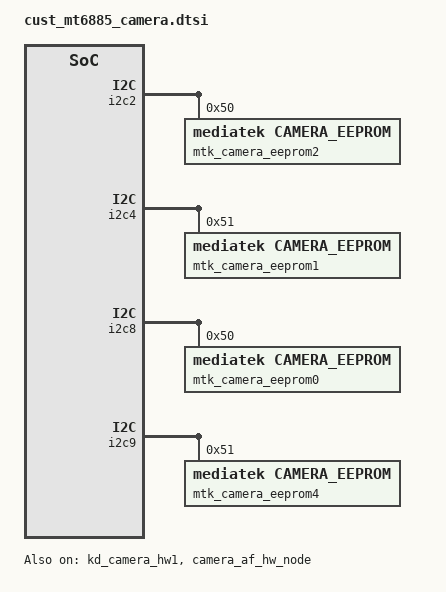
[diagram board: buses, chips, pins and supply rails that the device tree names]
// SPDX-License-Identifier: GPL-2.0
/*
 * Copyright (c) 2021 MediaTek Inc.
 */
/* CAMERA GPIO standardization */
&pio {
	camera_pins_cam0_rst_0: cam0@0 {
		pins_cmd_dat {
			pinmux = <__CUST_GPIO_CAMERA_CMRST_PINMUX__>;
			slew-rate = <1>;
			output-low;
		};
	};
	camera_pins_cam0_rst_1: cam0@1 {
		pins_cmd_dat {
			pinmux = <__CUST_GPIO_CAMERA_CMRST_PINMUX__>;
			slew-rate = <1>;
			output-high;
		};
	};
	camera_pins_cam0_pnd_0: cam0@2 {
#if (PUNMUX_GPIO_NONE_FUNC_NONE == __CUST_GPIO_CAMERA_CMPDN_PINMUX__)
#else
		pins_cmd_dat {
			pinmux = <__CUST_GPIO_CAMERA_CMPDN_PINMUX__>;
			slew-rate = <1>;
			output-low;
		};
#endif
	};
	camera_pins_cam0_pnd_1: cam0@3 {
#if (PUNMUX_GPIO_NONE_FUNC_NONE == __CUST_GPIO_CAMERA_CMPDN_PINMUX__)
#else
		pins_cmd_dat {
			pinmux = <__CUST_GPIO_CAMERA_CMPDN_PINMUX__>;
			slew-rate = <1>;
			output-high;
		};
#endif
	};
	camera_pins_cam1_rst_0: cam1@0 {
#if (PUNMUX_GPIO_NONE_FUNC_NONE == __CUST_GPIO_CAMERA_SUB_CMRST_PINMUX__)
#else
		pins_cmd_dat {
			pinmux = <__CUST_GPIO_CAMERA_SUB_CMRST_PINMUX__>;
			slew-rate = <1>;
			output-low;
		};
#endif
	};
	camera_pins_cam1_rst_1: cam1@1 {
#if (PUNMUX_GPIO_NONE_FUNC_NONE == __CUST_GPIO_CAMERA_SUB_CMRST_PINMUX__)
#else
		pins_cmd_dat {
			pinmux = <__CUST_GPIO_CAMERA_SUB_CMRST_PINMUX__>;
			slew-rate = <1>;
			output-high;
		};
#endif
	};
	camera_pins_cam1_pnd_0: cam1@2 {
#if (PUNMUX_GPIO_NONE_FUNC_NONE == __CUST_GPIO_CAMERA_SUB_CMPDN_PINMUX__)
#else
		pins_cmd_dat {
			pinmux = <__CUST_GPIO_CAMERA_SUB_CMPDN_PINMUX__>;
			slew-rate = <1>;
			output-low;
		};
#endif
	};
	camera_pins_cam1_pnd_1: cam1@3 {
#if (PUNMUX_GPIO_NONE_FUNC_NONE == __CUST_GPIO_CAMERA_SUB_CMPDN_PINMUX__)
#else
		pins_cmd_dat {
			pinmux = <__CUST_GPIO_CAMERA_SUB_CMPDN_PINMUX__>;
			slew-rate = <1>;
			output-high;
		};
#endif
	};
	camera_pins_cam2_rst_0: cam2@0 {
#if (PUNMUX_GPIO_NONE_FUNC_NONE == __CUST_GPIO_CAMERA_MAIN2_CMRST_PINMUX__)
#else
		pins_cmd_dat {
			pinmux = <__CUST_GPIO_CAMERA_MAIN2_CMRST_PINMUX__>;
			slew-rate = <1>;
			output-low;
		};
#endif
	};
	camera_pins_cam2_rst_1: cam2@1 {
#if (PUNMUX_GPIO_NONE_FUNC_NONE == __CUST_GPIO_CAMERA_MAIN2_CMRST_PINMUX__)
#else
		pins_cmd_dat {
			pinmux = <__CUST_GPIO_CAMERA_MAIN2_CMRST_PINMUX__>;
			slew-rate = <1>;
			output-high;
		};
#endif
	};
	camera_pins_cam2_pnd_0: cam2@2 {
#if (PUNMUX_GPIO_NONE_FUNC_NONE == __CUST_GPIO_CAMERA_MAIN2_CMPDN_PINMUX__)
#else
		pins_cmd_dat {
			pinmux = <__CUST_GPIO_CAMERA_MAIN2_CMPDN_PINMUX__>;
			slew-rate = <1>;
			output-low;
		};
#endif
	};
	camera_pins_cam2_pnd_1: cam2@3 {
#if (PUNMUX_GPIO_NONE_FUNC_NONE == __CUST_GPIO_CAMERA_MAIN2_CMPDN_PINMUX__)
#else
		pins_cmd_dat {
			pinmux = <__CUST_GPIO_CAMERA_MAIN2_CMPDN_PINMUX__>;
			slew-rate = <1>;
			output-high;
		};
#endif
	};
	camera_pins_cam3_rst_0: cam3@0 {
#if (PUNMUX_GPIO_NONE_FUNC_NONE == __CUST_GPIO_CAMERA_SUB2_CMRST_PINMUX__)
#else
		pins_cmd_dat {
			pinmux = <__CUST_GPIO_CAMERA_SUB2_CMRST_PINMUX__>;
			slew-rate = <1>;
			output-low;
		};
#endif
	};
	camera_pins_cam3_rst_1: cam3@1 {
#if (PUNMUX_GPIO_NONE_FUNC_NONE == __CUST_GPIO_CAMERA_SUB2_CMRST_PINMUX__)
#else
		pins_cmd_dat {
			pinmux = <__CUST_GPIO_CAMERA_SUB2_CMRST_PINMUX__>;
			slew-rate = <1>;
			output-high;
		};
#endif
	};
	camera_pins_cam3_pnd_0: cam3@2 {
#if (PUNMUX_GPIO_NONE_FUNC_NONE == __CUST_GPIO_CAMERA_SUB2_CMPDN_PINMUX__)
#else
		pins_cmd_dat {
			pinmux = <__CUST_GPIO_CAMERA_SUB2_CMPDN_PINMUX__>;
			slew-rate = <1>;
			output-low;
		};
#endif
	};
	camera_pins_cam3_pnd_1: cam3@3 {
#if (PUNMUX_GPIO_NONE_FUNC_NONE == __CUST_GPIO_CAMERA_SUB2_CMPDN_PINMUX__)
#else
		pins_cmd_dat {
			pinmux = <__CUST_GPIO_CAMERA_SUB2_CMPDN_PINMUX__>;
			slew-rate = <1>;
			output-high;
		};
#endif
	};
	camera_pins_cam4_rst_0: cam4@0 {
		pins_cmd_dat {
			pinmux = <PINMUX_GPIO145__FUNC_GPIO145>;
			slew-rate = <1>;
			output-low;
		};
	};
	camera_pins_cam4_rst_1: cam4@1 {
		pins_cmd_dat {
			pinmux = <PINMUX_GPIO145__FUNC_GPIO145>;
			slew-rate = <1>;
			output-high;
		};
	};
	camera_pins_cam4_pnd_0: cam4@2 {
		pins_cmd_dat {
			pinmux = <PINMUX_GPIO148__FUNC_GPIO148>;
			slew-rate = <1>;
			output-low;
		};
	};
	camera_pins_cam4_pnd_1: cam4@3 {
		pins_cmd_dat {
			pinmux = <PINMUX_GPIO148__FUNC_GPIO148>;
			slew-rate = <1>;
			output-high;
		};
	};
	camera_pins_cam5_rst_0: cam5@0 {
	};
	camera_pins_cam5_rst_1: cam5@1 {
	};
	camera_pins_cam5_pnd_0: cam5@2 {
	};
	camera_pins_cam5_pnd_1: cam5@3 {
	};
	camera_pins_cam0_vcamd_0: cam0@vcam0 {
#if (PUNMUX_GPIO_NONE_FUNC_NONE == __CUST_GPIO_CAMERA_VCAMD_PINMUX__)
#else
		pins_cmd_dat {
			pinmux = <__CUST_GPIO_CAMERA_VCAMD_PINMUX__>;
			slew-rate = <1>;
			output-low;
		};
#endif
	};
	camera_pins_cam0_vcamd_1: cam0@vcam1 {
#if (PUNMUX_GPIO_NONE_FUNC_NONE == __CUST_GPIO_CAMERA_VCAMD_PINMUX__)
#else
		pins_cmd_dat {
			pinmux = <__CUST_GPIO_CAMERA_VCAMD_PINMUX__>;
			slew-rate = <1>;
			output-high;
		};
#endif
	};
	camera_pins_cam0_vcama_0: cam0@vcam2 {
#if (PUNMUX_GPIO_NONE_FUNC_NONE == __CUST_GPIO_CAMERA_VCAMA_PINMUX__)
#else
		pins_cmd_dat {
			pinmux = <__CUST_GPIO_CAMERA_VCAMA_PINMUX__>;
			slew-rate = <1>;
			output-low;
		};
#endif
	};
	camera_pins_cam0_vcama_1: cam0@vcam3 {
#if (PUNMUX_GPIO_NONE_FUNC_NONE == __CUST_GPIO_CAMERA_VCAMA_PINMUX__)
#else
		pins_cmd_dat {
			pinmux = <__CUST_GPIO_CAMERA_VCAMA_PINMUX__>;
			slew-rate = <1>;
			output-high;
		};
#endif
	};
	camera_pins_cam0_vcamd2_0: cam0_vcamd2@vcam0 {
#if (PUNMUX_GPIO_NONE_FUNC_NONE == __CUST_GPIO_CAMERA_VCAMD2_PINMUX__)
#else
		pins_cmd_dat {
			pinmux = <__CUST_GPIO_CAMERA_VCAMD2_PINMUX__>;
			slew-rate = <1>;
			output-low;
		};
#endif
	};
	camera_pins_cam0_vcamd2_1: cam0_vcamd2@vcam1 {
#if (PUNMUX_GPIO_NONE_FUNC_NONE == __CUST_GPIO_CAMERA_VCAMD2_PINMUX__)
#else
		pins_cmd_dat {
			pinmux = <__CUST_GPIO_CAMERA_VCAMD2_PINMUX__>;
			slew-rate = <1>;
			output-high;
		};
#endif
	};
	camera_pins_cam0_vcama2_0: cam0_vcama2@vcam2 {
#if (PUNMUX_GPIO_NONE_FUNC_NONE == __CUST_GPIO_CAMERA_VCAMA2_PINMUX__)
#else
		pins_cmd_dat {
			pinmux = <__CUST_GPIO_CAMERA_VCAMA2_PINMUX__>;
			slew-rate = <1>;
			output-low;
		};
#endif
	};
	camera_pins_cam0_vcama2_1: cam0_vcama2@vcam3 {
#if (PUNMUX_GPIO_NONE_FUNC_NONE == __CUST_GPIO_CAMERA_VCAMA2_PINMUX__)
#else
		pins_cmd_dat {
			pinmux = <__CUST_GPIO_CAMERA_VCAMA2_PINMUX__>;
			slew-rate = <1>;
			output-high;
		};
#endif
	};
	camera_pins_cam0_vcamaf_0: cam0@vcam4 {
#if (PUNMUX_GPIO_NONE_FUNC_NONE == __CUST_GPIO_CAMERA_VCAMAF_PINMUX__)
#else
		pins_cmd_dat {
			pinmux = <__CUST_GPIO_CAMERA_VCAMAF_PINMUX__>;
			slew-rate = <1>;
			output-low;
		};
#endif
	};
	camera_pins_cam0_vcamaf_1: cam0@vcam5 {
#if (PUNMUX_GPIO_NONE_FUNC_NONE == __CUST_GPIO_CAMERA_VCAMAF_PINMUX__)
#else
		pins_cmd_dat {
			pinmux = <__CUST_GPIO_CAMERA_VCAMAF_PINMUX__>;
			slew-rate = <1>;
			output-high;
		};
#endif
	};
	camera_pins_cam1_vcamd_0: cam1@vcam0 {
#if (PUNMUX_GPIO_NONE_FUNC_NONE == __CUST_GPIO_CAMERA_SUB_VCAMD_PINMUX__)
#else
		pins_cmd_dat {
			pinmux = <__CUST_GPIO_CAMERA_SUB_VCAMD_PINMUX__>;
			slew-rate = <1>;
			output-low;
		};
#endif
	};
	camera_pins_cam1_vcamd_1: cam1@vcam1 {
#if (PUNMUX_GPIO_NONE_FUNC_NONE == __CUST_GPIO_CAMERA_SUB_VCAMD_PINMUX__)
#else
		pins_cmd_dat {
			pinmux = <__CUST_GPIO_CAMERA_SUB_VCAMD_PINMUX__>;
			slew-rate = <1>;
			output-high;
		};
#endif
	};
	camera_pins_cam1_vcama_0: cam1@vcam2 {
#if (PUNMUX_GPIO_NONE_FUNC_NONE == __CUST_GPIO_CAMERA_SUB_VCAMA_PINMUX__)
#else
		pins_cmd_dat {
			pinmux = <__CUST_GPIO_CAMERA_SUB_VCAMA_PINMUX__>;
			slew-rate = <1>;
			output-low;
		};
#endif
	};
	camera_pins_cam1_vcama_1: cam1@vcam3 {
#if (PUNMUX_GPIO_NONE_FUNC_NONE == __CUST_GPIO_CAMERA_SUB_VCAMA_PINMUX__)
#else
		pins_cmd_dat {
			pinmux = <__CUST_GPIO_CAMERA_SUB_VCAMA_PINMUX__>;
			slew-rate = <1>;
			output-high;
		};
#endif
	};
	camera_pins_cam2_vcamd_0: cam2@vcam0 {
#if (PUNMUX_GPIO_NONE_FUNC_NONE == __CUST_GPIO_CAMERA_MAIN2_VCAMD_PINMUX__)
#else
		pins_cmd_dat {
			pinmux = <__CUST_GPIO_CAMERA_MAIN2_VCAMD_PINMUX__>;
			slew-rate = <1>;
			output-low;
		};
#endif
	};
	camera_pins_cam2_vcamd_1: cam2@vcam1 {
#if (PUNMUX_GPIO_NONE_FUNC_NONE == __CUST_GPIO_CAMERA_MAIN2_VCAMD_PINMUX__)
#else
		pins_cmd_dat {
			pinmux = <__CUST_GPIO_CAMERA_MAIN2_VCAMD_PINMUX__>;
			slew-rate = <1>;
			output-high;
		};
#endif
	};
	camera_pins_cam2_vcama_0: cam2@vcam2 {
#if (PUNMUX_GPIO_NONE_FUNC_NONE == __CUST_GPIO_CAMERA_MAIN2_VCAMA_PINMUX__)
#else
		pins_cmd_dat {
			pinmux = <__CUST_GPIO_CAMERA_MAIN2_VCAMA_PINMUX__>;
			slew-rate = <1>;
			output-low;
		};
#endif
	};
	camera_pins_cam2_vcama_1: cam2@vcam3 {
#if (PUNMUX_GPIO_NONE_FUNC_NONE == __CUST_GPIO_CAMERA_MAIN2_VCAMA_PINMUX__)
#else
		pins_cmd_dat {
			pinmux = <__CUST_GPIO_CAMERA_MAIN2_VCAMA_PINMUX__>;
			slew-rate = <1>;
			output-high;
		};
#endif
	};
	camera_pins_cam2_vcamaf_0: cam2@vcam4 {
#if (PUNMUX_GPIO_NONE_FUNC_NONE == __CUST_GPIO_CAMERA_VCAMAF_PINMUX__)
#else
		pins_cmd_dat {
			pinmux = <__CUST_GPIO_CAMERA_VCAMAF_PINMUX__>;
			slew-rate = <1>;
			output-low;
		};
#endif
	};
	camera_pins_cam2_vcamaf_1: cam2@vcam5 {
#if (PUNMUX_GPIO_NONE_FUNC_NONE == __CUST_GPIO_CAMERA_VCAMAF_PINMUX__)
#else
		pins_cmd_dat {
			pinmux = <__CUST_GPIO_CAMERA_VCAMAF_PINMUX__>;
			slew-rate = <1>;
			output-high;
		};
#endif
	};
	camera_pins_cam3_vcamd_0: cam3@vcam0 {
#if (PUNMUX_GPIO_NONE_FUNC_NONE == __CUST_GPIO_CAMERA_SUB2_VCAMD_PINMUX__)
#else
		pins_cmd_dat {
			pinmux = <__CUST_GPIO_CAMERA_SUB2_VCAMD_PINMUX__>;
			slew-rate = <1>;
			output-low;
		};
#endif
	};
	camera_pins_cam3_vcamd_1: cam3@vcam1 {
#if (PUNMUX_GPIO_NONE_FUNC_NONE == __CUST_GPIO_CAMERA_SUB2_VCAMD_PINMUX__)
#else
		pins_cmd_dat {
			pinmux = <__CUST_GPIO_CAMERA_SUB2_VCAMD_PINMUX__>;
			slew-rate = <1>;
			output-high;
		};
#endif
	};
	camera_pins_cam3_vcama_0: cam3@vcam2 {
#if (PUNMUX_GPIO_NONE_FUNC_NONE == __CUST_GPIO_CAMERA_SUB2_VCAMA_PINMUX__)
#else
		pins_cmd_dat {
			pinmux = <__CUST_GPIO_CAMERA_SUB2_VCAMA_PINMUX__>;
			slew-rate = <1>;
			output-low;
		};
#endif
	};
	camera_pins_cam3_vcama_1: cam3@vcam3 {
#if (PUNMUX_GPIO_NONE_FUNC_NONE == __CUST_GPIO_CAMERA_SUB2_VCAMA_PINMUX__)
#else
		pins_cmd_dat {
			pinmux = <__CUST_GPIO_CAMERA_SUB2_VCAMA_PINMUX__>;
			slew-rate = <1>;
			output-high;
		};
#endif
	};
	camera_pins_cam4_vcamd_0: cam4@vcam0 {
		pins_cmd_dat {
			pinmux = <PINMUX_GPIO6__FUNC_GPIO6>;
			slew-rate = <1>;
			output-low;
		};
	};
	camera_pins_cam4_vcamd_1: cam4@vcam1 {
		pins_cmd_dat {
			pinmux = <PINMUX_GPIO6__FUNC_GPIO6>;
			slew-rate = <1>;
			output-high;
		};
	};
	camera_pins_cam4_vcama_0: cam4@vcam2 {
		pins_cmd_dat {
			pinmux = <PINMUX_GPIO7__FUNC_GPIO7>;
			slew-rate = <1>;
			output-low;
		};
	};
	camera_pins_cam4_vcama_1: cam4@vcam3 {
		pins_cmd_dat {
			pinmux = <PINMUX_GPIO7__FUNC_GPIO7>;
			slew-rate = <1>;
			output-high;
		};
	};
	camera_pins_cam5_vcamd_0: cam5@vcam0 {
	};
	camera_pins_cam5_vcamd_1: cam5@vcam1 {
	};
	camera_pins_cam5_vcama_0: cam5@vcam2 {
	};
	camera_pins_cam5_vcama_1: cam5@vcam3 {
	};
	camera_pins_cam0_mclk_off: camera_pins_cam0_mclk_off {
#if (PUNMUX_GPIO_NONE_FUNC_NONE == __CUST_GPIO_CAMERA_MCLKOFF_PINMUX__)
#else
		pins_cmd_dat {
			pinmux = <__CUST_GPIO_CAMERA_MCLKOFF_PINMUX__>;
			drive-strength = <1>;
		};
#endif
	};
	camera_pins_cam0_mclk_2ma: camera_pins_cam0_mclk_2ma {
#if (PUNMUX_GPIO_NONE_FUNC_NONE == __CUST_GPIO_CAMERA_MCLKON_PINMUX__)
#else
		pins_cmd_dat {
			pinmux = <__CUST_GPIO_CAMERA_MCLKON_PINMUX__>;
			drive-strength = <0>;
		};
#endif
	};
	camera_pins_cam0_mclk_4ma: camera_pins_cam0_mclk_4ma {
#if (PUNMUX_GPIO_NONE_FUNC_NONE == __CUST_GPIO_CAMERA_MCLKON_PINMUX__)
#else
		pins_cmd_dat {
			pinmux = <__CUST_GPIO_CAMERA_MCLKON_PINMUX__>;
			drive-strength = <1>;
		};
#endif
	};
	camera_pins_cam0_mclk_6ma: camera_pins_cam0_mclk_6ma {
#if (PUNMUX_GPIO_NONE_FUNC_NONE == __CUST_GPIO_CAMERA_MCLKON_PINMUX__)
#else
		pins_cmd_dat {
			pinmux = <__CUST_GPIO_CAMERA_MCLKON_PINMUX__>;
			drive-strength = <2>;
		};
#endif
	};
	camera_pins_cam0_mclk_8ma: camera_pins_cam0_mclk_8ma {
#if (PUNMUX_GPIO_NONE_FUNC_NONE == __CUST_GPIO_CAMERA_MCLKON_PINMUX__)
#else
		pins_cmd_dat {
			pinmux = <__CUST_GPIO_CAMERA_MCLKON_PINMUX__>;
			drive-strength = <3>;
		};
#endif
	};
	camera_pins_cam1_mclk_off: camera_pins_cam1_mclk_off {
#if (PUNMUX_GPIO_NONE_FUNC_NONE == __CUST_GPIO_CAMERA_SUB_MCLKOFF_PINMUX__)
#else
		pins_cmd_dat {
			pinmux = <__CUST_GPIO_CAMERA_SUB_MCLKOFF_PINMUX__>;
			drive-strength = <1>;
		};
#endif
	};
	camera_pins_cam1_mclk_2ma: camera_pins_cam1_mclk_2ma {
#if (PUNMUX_GPIO_NONE_FUNC_NONE == __CUST_GPIO_CAMERA_SUB_MCLKON_PINMUX__)
#else
		pins_cmd_dat {
			pinmux = <__CUST_GPIO_CAMERA_SUB_MCLKON_PINMUX__>;
			drive-strength = <0>;
		};
#endif
	};
	camera_pins_cam1_mclk_4ma: camera_pins_cam1_mclk_4ma {
#if (PUNMUX_GPIO_NONE_FUNC_NONE == __CUST_GPIO_CAMERA_SUB_MCLKON_PINMUX__)
#else
		pins_cmd_dat {
			pinmux = <__CUST_GPIO_CAMERA_SUB_MCLKON_PINMUX__>;
			drive-strength = <1>;
		};
#endif
	};
	camera_pins_cam1_mclk_6ma: camera_pins_cam1_mclk_6ma {
#if (PUNMUX_GPIO_NONE_FUNC_NONE == __CUST_GPIO_CAMERA_SUB_MCLKON_PINMUX__)
#else
		pins_cmd_dat {
			pinmux = <__CUST_GPIO_CAMERA_SUB_MCLKON_PINMUX__>;
			drive-strength = <2>;
		};
#endif
	};
	camera_pins_cam1_mclk_8ma: camera_pins_cam1_mclk_8ma {
#if (PUNMUX_GPIO_NONE_FUNC_NONE == __CUST_GPIO_CAMERA_SUB_MCLKON_PINMUX__)
#else
		pins_cmd_dat {
			pinmux = <__CUST_GPIO_CAMERA_SUB_MCLKON_PINMUX__>;
			drive-strength = <3>;
		};
#endif
	};
	camera_pins_cam2_mclk_off: camera_pins_cam2_mclk_off {
#if (PUNMUX_GPIO_NONE_FUNC_NONE == __CUST_GPIO_CAMERA_MAIN2_MCLKOFF_PINMUX__)
#else
		pins_cmd_dat {
			pinmux = <__CUST_GPIO_CAMERA_MAIN2_MCLKOFF_PINMUX__>;
			drive-strength = <1>;
		};
#endif
	};
	camera_pins_cam2_mclk_2ma: camera_pins_cam2_mclk_2ma {
#if (PUNMUX_GPIO_NONE_FUNC_NONE == __CUST_GPIO_CAMERA_MAIN2_MCLKON_PINMUX__)
#else
		pins_cmd_dat {
			pinmux = <__CUST_GPIO_CAMERA_MAIN2_MCLKON_PINMUX__>;
			drive-strength = <0>;
		};
#endif
	};
	camera_pins_cam2_mclk_4ma: camera_pins_cam2_mclk_4ma {
#if (PUNMUX_GPIO_NONE_FUNC_NONE == __CUST_GPIO_CAMERA_MAIN2_MCLKON_PINMUX__)
#else
		pins_cmd_dat {
			pinmux = <__CUST_GPIO_CAMERA_MAIN2_MCLKON_PINMUX__>;
			drive-strength = <1>;
		};
#endif
	};
	camera_pins_cam2_mclk_6ma: camera_pins_cam2_mclk_6ma {
#if (PUNMUX_GPIO_NONE_FUNC_NONE == __CUST_GPIO_CAMERA_MAIN2_MCLKON_PINMUX__)
#else
		pins_cmd_dat {
			pinmux = <__CUST_GPIO_CAMERA_MAIN2_MCLKON_PINMUX__>;
			drive-strength = <2>;
		};
#endif
	};
	camera_pins_cam2_mclk_8ma: camera_pins_cam2_mclk_8ma {
#if (PUNMUX_GPIO_NONE_FUNC_NONE == __CUST_GPIO_CAMERA_MAIN2_MCLKON_PINMUX__)
#else
		pins_cmd_dat {
			pinmux = <__CUST_GPIO_CAMERA_MAIN2_MCLKON_PINMUX__>;
			drive-strength = <3>;
		};
#endif
	};
	camera_pins_cam3_mclk_off: camera_pins_cam3_mclk_off {
#if (PUNMUX_GPIO_NONE_FUNC_NONE == __CUST_GPIO_CAMERA_SUB2_MCLKOFF_PINMUX__)
#else
		pins_cmd_dat {
			pinmux = <__CUST_GPIO_CAMERA_SUB2_MCLKOFF_PINMUX__>;
			drive-strength = <1>;
		};
#endif
	};
	camera_pins_cam3_mclk_2ma: camera_pins_cam3_mclk_2ma {
#if (PUNMUX_GPIO_NONE_FUNC_NONE == __CUST_GPIO_CAMERA_SUB2_MCLKON_PINMUX__)
#else
		pins_cmd_dat {
			pinmux = <__CUST_GPIO_CAMERA_SUB2_MCLKON_PINMUX__>;
			drive-strength = <0>;
		};
#endif
	};
	camera_pins_cam3_mclk_4ma: camera_pins_cam3_mclk_4ma {
#if (PUNMUX_GPIO_NONE_FUNC_NONE == __CUST_GPIO_CAMERA_SUB2_MCLKON_PINMUX__)
#else
		pins_cmd_dat {
			pinmux = <__CUST_GPIO_CAMERA_SUB2_MCLKON_PINMUX__>;
			drive-strength = <1>;
		};
#endif
	};
	camera_pins_cam3_mclk_6ma: camera_pins_cam3_mclk_6ma {
#if (PUNMUX_GPIO_NONE_FUNC_NONE == __CUST_GPIO_CAMERA_SUB2_MCLKON_PINMUX__)
#else
		pins_cmd_dat {
			pinmux = <__CUST_GPIO_CAMERA_SUB2_MCLKON_PINMUX__>;
			drive-strength = <2>;
		};
#endif
	};
	camera_pins_cam3_mclk_8ma: camera_pins_cam3_mclk_8ma {
#if (PUNMUX_GPIO_NONE_FUNC_NONE == __CUST_GPIO_CAMERA_SUB2_MCLKON_PINMUX__)
#else
		pins_cmd_dat {
			pinmux = <__CUST_GPIO_CAMERA_SUB2_MCLKON_PINMUX__>;
			drive-strength = <3>;
		};
#endif
	};
	camera_pins_cam4_mclk_off: camera_pins_cam4_mclk_off {
		pins_cmd_dat {
			pinmux = <PINMUX_GPIO151__FUNC_GPIO151>;
			drive-strength = <1>;
		};
	};
	camera_pins_cam4_mclk_2ma: camera_pins_cam4_mclk_2ma {
		pins_cmd_dat {
			pinmux = <PINMUX_GPIO151__FUNC_CMMCLK2>;
			drive-strength = <0>;
		};
	};
	camera_pins_cam4_mclk_4ma: camera_pins_cam4_mclk_4ma {
		pins_cmd_dat {
			pinmux = <PINMUX_GPIO151__FUNC_CMMCLK2>;
			drive-strength = <1>;
		};
	};
	camera_pins_cam4_mclk_6ma: camera_pins_cam4_mclk_6ma {
		pins_cmd_dat {
			pinmux = <PINMUX_GPIO151__FUNC_CMMCLK2>;
			drive-strength = <2>;
		};
	};
	camera_pins_cam4_mclk_8ma: camera_pins_cam4_mclk_8ma {
		pins_cmd_dat {
			pinmux = <PINMUX_GPIO151__FUNC_CMMCLK2>;
			drive-strength = <3>;
		};
	};
	camera_pins_cam5_mclk_off: camera_pins_cam5_mclk_off {
	};
	camera_pins_cam5_mclk_2ma: camera_pins_cam5_mclk_2ma {
	};
	camera_pins_cam5_mclk_4ma: camera_pins_cam5_mclk_4ma {
	};
	camera_pins_cam5_mclk_6ma: camera_pins_cam5_mclk_6ma {
	};
	camera_pins_cam5_mclk_8ma: camera_pins_cam5_mclk_8ma {
	};
	camera_pins_cam_mipi_switch_en_1: mipi_en@1 {
	};
	camera_pins_cam_mipi_switch_en_0: mipi_en@0 {
	};
	camera_pins_cam_mipi_switch_sel_1: mipi_sel@1 {
	};
	camera_pins_cam_mipi_switch_sel_0: mipi_sel@0 {
	};
	camera_pins_default: camdefault {
	};
};
&kd_camera_hw1 {
	pinctrl-names = "default",
			"cam0_rst0", "cam0_rst1",
			"cam0_pnd0", "cam0_pnd1",
			"cam1_rst0", "cam1_rst1",
			"cam1_pnd0", "cam1_pnd1",
			"cam2_rst0", "cam2_rst1",
			"cam2_pnd0", "cam2_pnd1",
			"cam3_rst0", "cam3_rst1",
			"cam3_pnd0", "cam3_pnd1",
			"cam4_rst0", "cam4_rst1",
			"cam4_pnd0", "cam4_pnd1",
			"cam5_rst0", "cam5_rst1",
			"cam5_pnd0", "cam5_pnd1",
			"cam0_ldo_vcamd_0", "cam0_ldo_vcamd_1",
			"cam0_ldo_vcama_0", "cam0_ldo_vcama_1",
			"cam0_ldo_vcamd2_0", "cam0_ldo_vcamd2_1",
			"cam0_ldo_vcama2_0", "cam0_ldo_vcama2_1",
			"cam0_ldo_vcamaf_0", "cam0_ldo_vcamaf_1",
			"cam1_ldo_vcamd_0", "cam1_ldo_vcamd_1",
			"cam1_ldo_vcama_0", "cam1_ldo_vcama_1",
			"cam2_ldo_vcamd_0", "cam2_ldo_vcamd_1",
			"cam2_ldo_vcama_0", "cam2_ldo_vcama_1",
			"cam2_ldo_vcamaf_0", "cam2_ldo_vcamaf_1",
			"cam3_ldo_vcamd_0", "cam3_ldo_vcamd_1",
			"cam3_ldo_vcama_0", "cam3_ldo_vcama_1",
			"cam4_ldo_vcamd_0", "cam4_ldo_vcamd_1",
			"cam4_ldo_vcama_0", "cam4_ldo_vcama_1",
			"cam5_ldo_vcamd_0", "cam5_ldo_vcamd_1",
			"cam5_ldo_vcama_0", "cam5_ldo_vcama_1",
			"cam0_mclk_off",
			"cam0_mclk_2mA", "cam0_mclk_4mA",
			"cam0_mclk_6mA", "cam0_mclk_8mA",
			"cam1_mclk_off",
			"cam1_mclk_2mA", "cam1_mclk_4mA",
			"cam1_mclk_6mA", "cam1_mclk_8mA",
			"cam2_mclk_off",
			"cam2_mclk_2mA", "cam2_mclk_4mA",
			"cam2_mclk_6mA", "cam2_mclk_8mA",
			"cam3_mclk_off",
			"cam3_mclk_2mA", "cam3_mclk_4mA",
			"cam3_mclk_6mA", "cam3_mclk_8mA",
			"cam4_mclk_off",
			"cam4_mclk_2mA", "cam4_mclk_4mA",
			"cam4_mclk_6mA", "cam4_mclk_8mA",
			"cam5_mclk_off",
			"cam5_mclk_2mA", "cam5_mclk_4mA",
			"cam5_mclk_6mA", "cam5_mclk_8mA",
			"cam_mipi_switch_en_1", "cam_mipi_switch_en_0",
			"cam_mipi_switch_sel_1", "cam_mipi_switch_sel_0";
	pinctrl-0 = <&camera_pins_default>;
	pinctrl-1 = <&camera_pins_cam0_rst_0>;
	pinctrl-2 = <&camera_pins_cam0_rst_1>;
	pinctrl-3 = <&camera_pins_cam0_pnd_0>;
	pinctrl-4 = <&camera_pins_cam0_pnd_1>;
	pinctrl-5 = <&camera_pins_cam1_rst_0>;
	pinctrl-6 = <&camera_pins_cam1_rst_1>;
	pinctrl-7 = <&camera_pins_cam1_pnd_0>;
	pinctrl-8 = <&camera_pins_cam1_pnd_1>;
	pinctrl-9 = <&camera_pins_cam2_rst_0>;
	pinctrl-10 = <&camera_pins_cam2_rst_1>;
	pinctrl-11 = <&camera_pins_cam2_pnd_0>;
	pinctrl-12 = <&camera_pins_cam2_pnd_1>;
	pinctrl-13 = <&camera_pins_cam3_rst_0>;
	pinctrl-14 = <&camera_pins_cam3_rst_1>;
	pinctrl-15 = <&camera_pins_cam3_pnd_0>;
	pinctrl-16 = <&camera_pins_cam3_pnd_1>;
	pinctrl-17 = <&camera_pins_cam4_rst_0>;
	pinctrl-18 = <&camera_pins_cam4_rst_1>;
	pinctrl-19 = <&camera_pins_cam4_pnd_0>;
	pinctrl-20 = <&camera_pins_cam4_pnd_1>;
	pinctrl-21 = <&camera_pins_cam5_rst_0>;
	pinctrl-22 = <&camera_pins_cam5_rst_1>;
	pinctrl-23 = <&camera_pins_cam5_pnd_0>;
	pinctrl-24 = <&camera_pins_cam5_pnd_1>;
	pinctrl-25 = <&camera_pins_cam0_vcamd_0>;
	pinctrl-26 = <&camera_pins_cam0_vcamd_1>;
	pinctrl-27 = <&camera_pins_cam0_vcama_0>;
	pinctrl-28 = <&camera_pins_cam0_vcama_1>;
	pinctrl-29 = <&camera_pins_cam0_vcamd2_0>;
	pinctrl-30 = <&camera_pins_cam0_vcamd2_1>;
	pinctrl-31 = <&camera_pins_cam0_vcama2_0>;
	pinctrl-32 = <&camera_pins_cam0_vcama2_1>;
	pinctrl-33 = <&camera_pins_cam0_vcamaf_0>;	
	pinctrl-34 = <&camera_pins_cam0_vcamaf_1>;
	pinctrl-35 = <&camera_pins_cam1_vcamd_0>;
	pinctrl-36 = <&camera_pins_cam1_vcamd_1>;
	pinctrl-37 = <&camera_pins_cam1_vcama_0>;
	pinctrl-38 = <&camera_pins_cam1_vcama_1>;
	pinctrl-39 = <&camera_pins_cam2_vcamd_0>;
	pinctrl-40 = <&camera_pins_cam2_vcamd_1>;
	pinctrl-41 = <&camera_pins_cam2_vcama_0>;
	pinctrl-42 = <&camera_pins_cam2_vcama_1>;
	pinctrl-43 = <&camera_pins_cam2_vcamaf_0>;	
	pinctrl-44 = <&camera_pins_cam2_vcamaf_1>;
	pinctrl-45 = <&camera_pins_cam3_vcamd_0>;
	pinctrl-46 = <&camera_pins_cam3_vcamd_1>;
	pinctrl-47 = <&camera_pins_cam3_vcama_0>;
	pinctrl-48 = <&camera_pins_cam3_vcama_1>;
	pinctrl-49 = <&camera_pins_cam4_vcamd_0>;
	pinctrl-50 = <&camera_pins_cam4_vcamd_1>;
	pinctrl-51 = <&camera_pins_cam4_vcama_0>;
	pinctrl-52 = <&camera_pins_cam4_vcama_1>;
	pinctrl-53 = <&camera_pins_cam5_vcamd_0>;
	pinctrl-54 = <&camera_pins_cam5_vcamd_1>;
	pinctrl-55 = <&camera_pins_cam5_vcama_0>;
	pinctrl-56 = <&camera_pins_cam5_vcama_1>;
	pinctrl-57 = <&camera_pins_cam0_mclk_off>;
	pinctrl-58 = <&camera_pins_cam0_mclk_2ma>;
	pinctrl-59 = <&camera_pins_cam0_mclk_4ma>;
	pinctrl-60 = <&camera_pins_cam0_mclk_6ma>;
	pinctrl-61 = <&camera_pins_cam0_mclk_8ma>;
	pinctrl-62 = <&camera_pins_cam1_mclk_off>;
	pinctrl-63 = <&camera_pins_cam1_mclk_2ma>;
	pinctrl-64 = <&camera_pins_cam1_mclk_4ma>;
	pinctrl-65 = <&camera_pins_cam1_mclk_6ma>;
	pinctrl-66 = <&camera_pins_cam1_mclk_8ma>;
	pinctrl-67 = <&camera_pins_cam2_mclk_off>;
	pinctrl-68 = <&camera_pins_cam2_mclk_2ma>;
	pinctrl-69 = <&camera_pins_cam2_mclk_4ma>;
	pinctrl-70 = <&camera_pins_cam2_mclk_6ma>;
	pinctrl-71 = <&camera_pins_cam2_mclk_8ma>;
	pinctrl-72 = <&camera_pins_cam3_mclk_off>;
	pinctrl-73 = <&camera_pins_cam3_mclk_2ma>;
	pinctrl-74 = <&camera_pins_cam3_mclk_4ma>;
	pinctrl-75 = <&camera_pins_cam3_mclk_6ma>;
	pinctrl-76 = <&camera_pins_cam3_mclk_8ma>;
	pinctrl-77 = <&camera_pins_cam4_mclk_off>;
	pinctrl-78 = <&camera_pins_cam4_mclk_2ma>;
	pinctrl-79 = <&camera_pins_cam4_mclk_4ma>;
	pinctrl-80 = <&camera_pins_cam4_mclk_6ma>;
	pinctrl-81 = <&camera_pins_cam4_mclk_8ma>;
	pinctrl-82 = <&camera_pins_cam5_mclk_off>;
	pinctrl-83 = <&camera_pins_cam5_mclk_2ma>;
	pinctrl-84 = <&camera_pins_cam5_mclk_4ma>;
	pinctrl-85 = <&camera_pins_cam5_mclk_6ma>;
	pinctrl-86 = <&camera_pins_cam5_mclk_8ma>;
	pinctrl-87 = <&camera_pins_cam_mipi_switch_en_1>;
	pinctrl-88 = <&camera_pins_cam_mipi_switch_en_0>;
	pinctrl-89 = <&camera_pins_cam_mipi_switch_sel_1>;
	pinctrl-90 = <&camera_pins_cam_mipi_switch_sel_0>;

	cam0_vcamio-supply = <&mt_pmic_vcamio_ldo_reg>;
	cam1_vcamio-supply = <&mt_pmic_vcamio_ldo_reg>;
	cam2_vcamio-supply = <&mt_pmic_vcamio_ldo_reg>;
	cam3_vcamio-supply = <&mt_pmic_vcamio_ldo_reg>;
	cam4_vcamio-supply = <&mt_pmic_vcamio_ldo_reg>;
	cam5_vcamio-supply = <&mt_pmic_vcamio_ldo_reg>;

	cam0_enable_sensor = CONFIG_IMGSENSOR_MAIN;
	cam1_enable_sensor = CONFIG_IMGSENSOR_SUB;
	cam2_enable_sensor = CONFIG_IMGSENSOR_MAIN2;
	cam3_enable_sensor = CONFIG_IMGSENSOR_SUB2;

	status = "okay";
};
/* CAMERA GPIO end */

/* CAMERA EEPROM */
&i2c2 {
	mtk_camera_eeprom2:camera_eeprom2@50 {
		compatible = "mediatek,camera_eeprom";
		reg = <0x50>;
		status = "okay";
	};
};
&i2c4 {
	mtk_camera_eeprom1:camera_eeprom1@51 {
		compatible = "mediatek,camera_eeprom";
		reg = <0x51>;
		status = "okay";
	};
};
&i2c8 {
	mtk_camera_eeprom0:camera_eeprom0@50 {
		compatible = "mediatek,camera_eeprom";
		reg = <0x50>;
		status = "okay";
	};
};
&i2c9 {
	mtk_camera_eeprom4:camera_eeprom4@51 {
		compatible = "mediatek,camera_eeprom";
		reg = <0x51>;
		status = "okay";
	};
};
/* CAMERA EEPROM end */

/* CAMERA AF */
&camera_af_hw_node {
	camaf_m1_pmic-supply = <&mt_pmic_vcamio_ldo_reg>;
	camaf_m2_pmic-supply = <&mt_pmic_vcamio_ldo_reg>;
	camaf_m3_pmic-supply = <&mt_pmic_vcamio_ldo_reg>;
	status = "okay";
};
/* CAMERA AF end */
